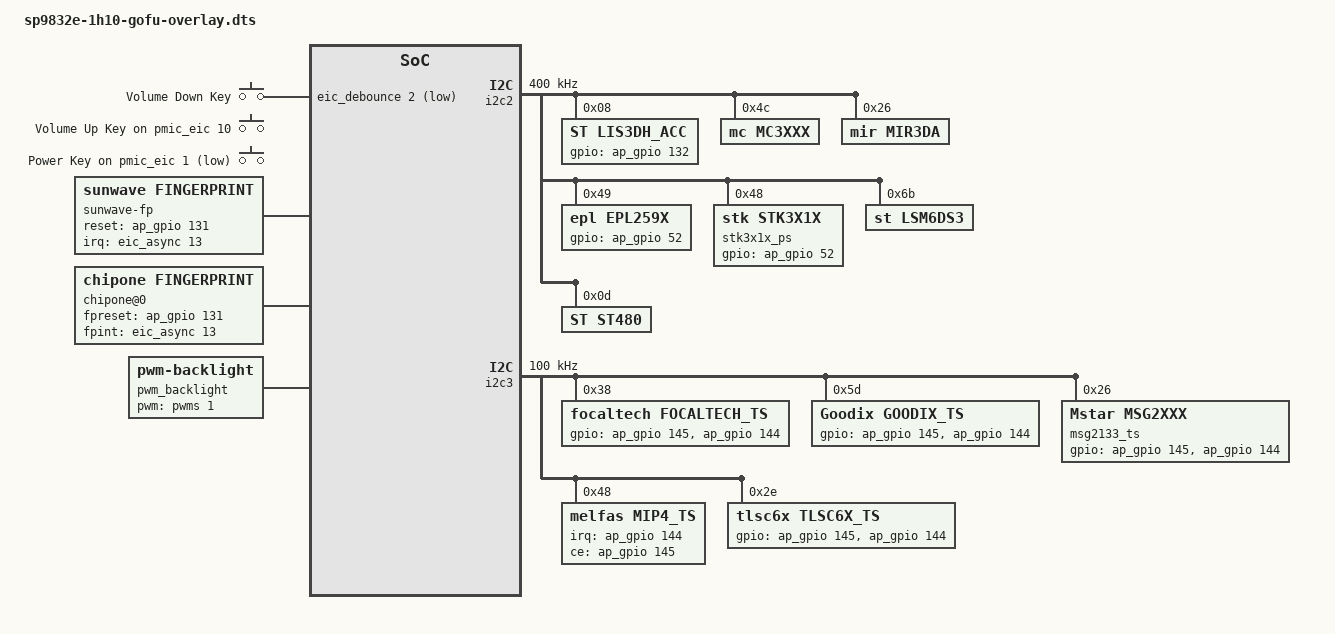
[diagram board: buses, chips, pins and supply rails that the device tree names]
/*
 * Spreadtrum sharkle sp9832e board DTS file
 *
 * Copyright (C) 2019, Spreadtrum Communications Inc.
 *
 * This file is licensed under a dual GPLv2 or X11 license.
 */
/dts-v1/;
/plugin/;
#include <dt-bindings/input/input.h>
#include <dt-bindings/gpio/gpio.h>

#include <dt-bindings/input/input.h>
#include <dt-bindings/gpio/gpio.h>

/ {
	/*
	* When create a new node, we should use the key word __overlay__,
	* otherwise u-boot can not analyze it.
	*/
	fragment {
		target-path = "/";
		__overlay__ {
			gpio-keys {
				compatible = "gpio-keys";

				key-volumedown {
					label = "Volume Down Key";
					linux,code = <114>;
					gpios = <&eic_debounce 2 GPIO_ACTIVE_LOW>;
					debounce-interval = <2>;
					wakeup-source;
				};

				key-volumeup {
					label = "Volume Up Key";
					linux,code = <115>;
					gpios = <&pmic_eic 10 GPIO_ACTIVE_HIGH>;
					debounce-interval = <2>;
					wakeup-source;
				};

				key-power {
					label = "Power Key";
					linux,code = <KEY_POWER>;
					gpios = <&pmic_eic 1 GPIO_ACTIVE_LOW>;
					debounce-interval = <2>;
					wakeup-source;
				};
			};

			sunwave-fp {
				compatible = "sunwave,fingerprint";
				sunwave,reset-gpio = <&ap_gpio 131 0>;
				sunwave,irq-gpio = <&eic_async 13 0>;
			};
			
			chipone@0{
				compatible = "chipone,fingerprint";
				fpreset-gpios = <&ap_gpio 131 0 >;
				fpint-gpios = <&eic_async 13 0 >;
			};

			pwm_backlight: sprd_backlight {
				compatible = "pwm-backlight";
				pwms = <&pwms 1 20000>;
				pwm-names = "backlight";
				brightness-levels = <
								  2   2   2   2
					  2   2   2   3   4   5   6   7   8   9
					 10  11  12  13  14  15  16  17  18  19
					 20  21  22  23  24  25  26  27  28  29
					 30  31  32  33  34  35  36  37  38  39
					 40  41  42  43  44  45  46  47  48  49
					 50  51  52  53  54  55  56  57  58  59
					 60  61  62  63  64  65  66  67  68  69
					 70  71  72  73  74  75  76  77  78  79
					 80  81  82  83  84  85  86  87  88  89
					 90  91  92  93  94  95  96  97  98  99
					100 101 102 103 104 105 106 107 108 109
					110 111 112 113 114 115 116 117 118 119
					120 121 122 123 124 125 126 127 128 129
					130 131 132 133 134 135 136 137 138 139
					140 141 142 143 144 145 146 147 148 149
					150 151 152 153 154 155 156 157 158 159
					160 161 162 163 164 165 166 167 168 169
					170 171 172 173 174 175 176 177 178 179
					180 181 182 183 184 185 186 187 188 189
					190 191 192 193 194 195 196 197 198 199
					200 201 202 203 204 205 206 207 208 209
					210 211 212 213 214 215 216 217 218 219
					220 221 222 223 224 225 226 227 228 229
					230 231 232 233 234 235 236 237 238 239
					240 241 242 243 244 245 246 247 248 249
					250 251
					>;
				default-brightness-level = <33>;
			};

		};
	};
};

&i2c2 {
	status = "okay";
	clock-frequency = <400000>;
	lis3dh_acc@08{
			compatible = "ST,lis3dh_acc";
			reg = <0x08>;
			gpios = <&ap_gpio 132 0>;
			poll_interval = <10>;
			min_interval = <1>;
			g_range = <0>;
			axis_map_x = <1>;
			axis_map_y = <0>;
			axis_map_z = <2>;
			negate_x = <0>;
			negate_y = <0>;
			negate_z = <1>;
		};
	mc3xxx@0x4C{
			compatible = "mc,mc3xxx";
			reg = <0x4C>;
		};
	mir3da@0x26{
			compatible = "mir,mir3da";
			reg = <0x26>;
		};
	epl259x@49{
			compatible = "epl,epl259x";
                        reg = <0x49>;
                        gpios = <&ap_gpio 52 0>;
		};

	stk3x1x_ps@48{
		compatible = "stk,stk3x1x";
		reg = <0x48>;
		gpios = <&ap_gpio 52 0>;
		stk,state-reg = <0x0>;
		stk,psctrl-reg = <0x31>;
		stk,alsctrl-reg = <0x38>;
		stk,ledctrl-reg  = <0xff>;
		stk,wait-reg = <0x0F>;
		stk,ps-thd-h = <1700>;
		stk,ps-thd-l = <1500>;
		stk,transmittance = <438>;				
	};
	
	lsm6ds3@6b{
			compatible = "st,lsm6ds3";
			reg = <0x6b>;
			st,drdy-int-pin = <1>;
			};
	st480@0d{
			compatible = "ST,st480";
			reg = <0x0d>;
			axis_map_x = <1>;
			axis_map_y = <0>;
			axis_map_z = <2>;
			negate_x = <0>;
			negate_y = <0>;
			negate_z = <1>;
			};
};

&i2c3 {
	status = "okay";
 	clock-frequency = <100000>;
		 focaltech_ts@38{
			compatible = "focaltech,focaltech_ts";
			reg = <0x38>;
			gpios = <&ap_gpio 145 0
				&ap_gpio 144 0>;
			vdd_name = "vdd18";
			virtualkeys = <80 900 60 40
                                 240 900 60 40
                                 400 900 60 40>;
			TP_MAX_X = <720>;
			TP_MAX_Y = <1440>;
		 };
		 goodix_ts@5d{
			compatible = "Goodix,goodix_ts";
			reg = <0x5d>;
			gpios = <&ap_gpio 145 0
				&ap_gpio 144 0>;
			vdd_name = "vdd18";
			virtualkeys = <40 1350 60 40
                                 120 1350 60 40
                                 200 1350 60 40>;
			TP_MAX_X = <720>;
			TP_MAX_Y = <1440>;
			status = "okay";
		 };
		 msg2133_ts@26{
			compatible = "Mstar,msg2xxx";
			reg = <0x26>;
			gpios = <&ap_gpio 145 0
                                 &ap_gpio 144 0>;
			vdd_name = "vdd18";
			virtualkeys = <80 1400 60 40
                                 240 1400 60 40
                                 400 1400 60 40>;
			TP_MAX_X = <720>;
			TP_MAX_Y = <1280>;
		 };
		 mip4_ts@48{
			compatible = "melfas,mip4_ts";
			reg = <0x48>;
			interrupt-parent = <&ap_gpio>;
			interrupt = <144 0>;
			irq-gpio = <&ap_gpio 144 0>;
			ce-gpio = <&ap_gpio 145 0>;
			vdd_name = "vdd28";
			pinctrl-names = "enable", "disable";
		 };
		 tlsc6x_ts@2e{
		 compatible = "tlsc6x,tlsc6x_ts";
		 reg = <0x2e>;
		 gpios = <&ap_gpio 145 0
			 &ap_gpio 144 0>;
		 vdd_name = "vdd18";
		 virtualkeys = <120 1350 60 40
							  360 1350 60 40
							  600 1350 60 40>;
		 TP_MAX_X = <600>;
		 TP_MAX_Y = <1280>;

	 };

};

&panel {
	sprd,backlight = <&pwm_backlight>;
};

&ddr_dfs {
	sprd-scene = "boost", "lcdon", "lcdoff", "camlow", "camhigh";
	sprd-freq = <667 384 256 384 667>;
};
